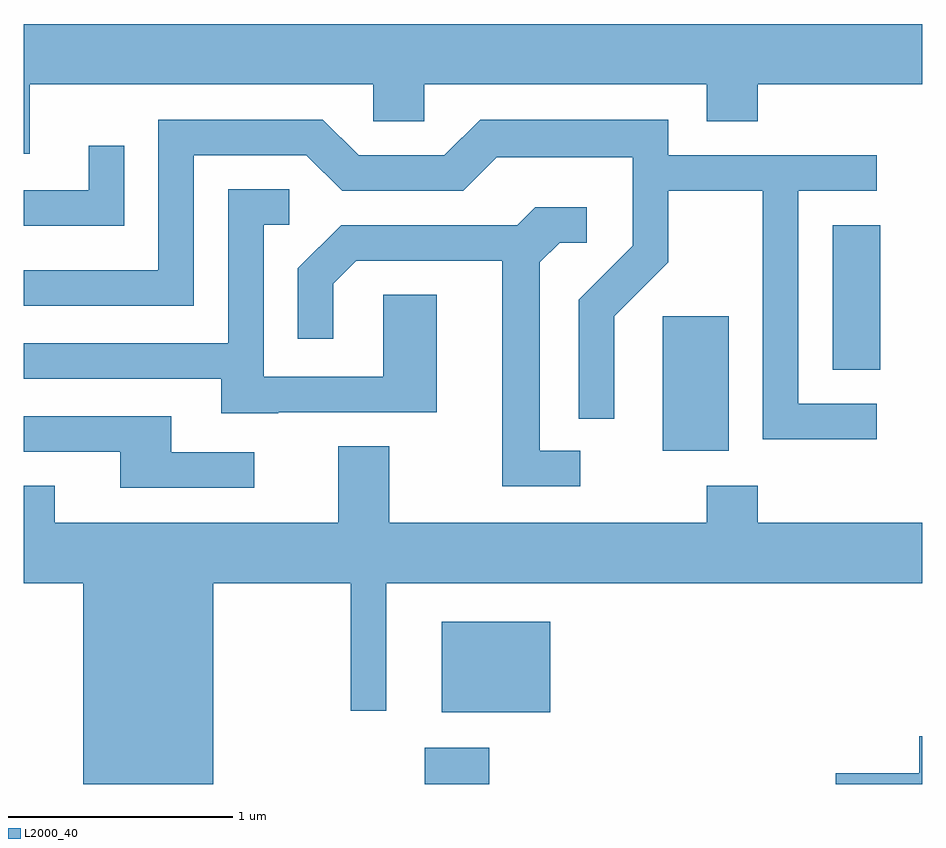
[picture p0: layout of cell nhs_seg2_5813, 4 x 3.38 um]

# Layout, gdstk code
import gdstk
lib = gdstk.Library(unit=1e-6, precision=1e-09)
def R(c, l, rs):  # rectangles x0, y0, x1, y1
    for r in rs: c.add(gdstk.rectangle(r[:2], r[2:], *l))
def P(c, l, *ps):  # polygons
    for p in ps: c.add(gdstk.Polygon(p, *l))
L2000_40 = (2000, 40)

nhs_seg2_5813 = lib.new_cell('nhs_seg2_5813')
R(nhs_seg2_5813, L2000_40, [(357.396,1111.802,357.684,1111.964), (357.471,1112.121,357.954,1112.524), (358.456,1113.286,358.749,1113.884), (359.211,1113.646,359.424,1114.289)])
P(nhs_seg2_5813, L2000_40, [(355.639,1114.916),(357.166,1114.916),(357.166,1114.751),(357.394,1114.751),(357.394,1114.916),(358.651,1114.916),(358.651,1114.751),(358.879,1114.751),(358.879,1114.916),(359.611,1114.916),(359.611,1115.184),(355.611,1115.184),(355.611,1114.606),(355.639,1114.606)],
  [(359.408,1113.494),(359.059,1113.494),(359.059,1114.441),(359.408,1114.441),(359.408,1114.599),(358.479,1114.599),(358.479,1114.759),(357.644,1114.759),(357.484,1114.599),(357.102,1114.599),(356.942,1114.759),(356.211,1114.759),(356.211,1114.089),(355.611,1114.089),(355.611,1113.931),(356.369,1113.931),(356.369,1114.601),(356.869,1114.601),(357.029,1114.441),(357.567,1114.441),(357.717,1114.591),(358.321,1114.591),(358.321,1114.197),(358.081,1113.957),(358.081,1113.428),(358.239,1113.428),(358.239,1113.884),(358.479,1114.124),(358.479,1114.441),(358.901,1114.441),(358.901,1113.336),(359.408,1113.336)],
  [(356.059,1114.643),(355.901,1114.643),(355.901,1114.444),(355.611,1114.444),(355.611,1114.286),(356.059,1114.286)],
  [(356.745,1113.456),(357.449,1113.456),(357.449,1113.979),(357.211,1113.979),(357.211,1113.614),(356.679,1113.614),(356.679,1114.291),(356.793,1114.291),(356.793,1114.449),(356.521,1114.449),(356.521,1113.764),(355.611,1113.764),(355.611,1113.606),(356.491,1113.606),(356.491,1113.451),(356.745,1113.451)],
  [(358.088,1113.284),(357.909,1113.284),(357.909,1114.124),(357.997,1114.211),(358.118,1114.211),(358.118,1114.369),(357.889,1114.369),(357.809,1114.289),(357.024,1114.289),(356.831,1114.097),(356.831,1113.783),(356.989,1113.783),(356.989,1114.029),(357.092,1114.131),(357.741,1114.131),(357.741,1113.126),(358.088,1113.126)],
  [(356.638,1113.279),(356.269,1113.279),(356.269,1113.439),(355.611,1113.439),(355.611,1113.281),(356.041,1113.281),(356.041,1113.121),(356.638,1113.121)],
  [(356.454,1112.696),(357.066,1112.696),(357.066,1112.128),(357.224,1112.128),(357.224,1112.696),(359.611,1112.696),(359.611,1112.964),(358.879,1112.964),(358.879,1113.129),(358.651,1113.129),(358.651,1112.964),(357.239,1112.964),(357.239,1113.304),(357.011,1113.304),(357.011,1112.964),(355.749,1112.964),(355.749,1113.129),(355.611,1113.129),(355.611,1112.696),(355.876,1112.696),(355.876,1111.802),(356.454,1111.802)],
  [(359.611,1112.014),(359.596,1112.014),(359.596,1111.849),(359.226,1111.849),(359.226,1111.802),(359.611,1111.802)])

lib.write_gds('nhs_seg2_5813.gds')
